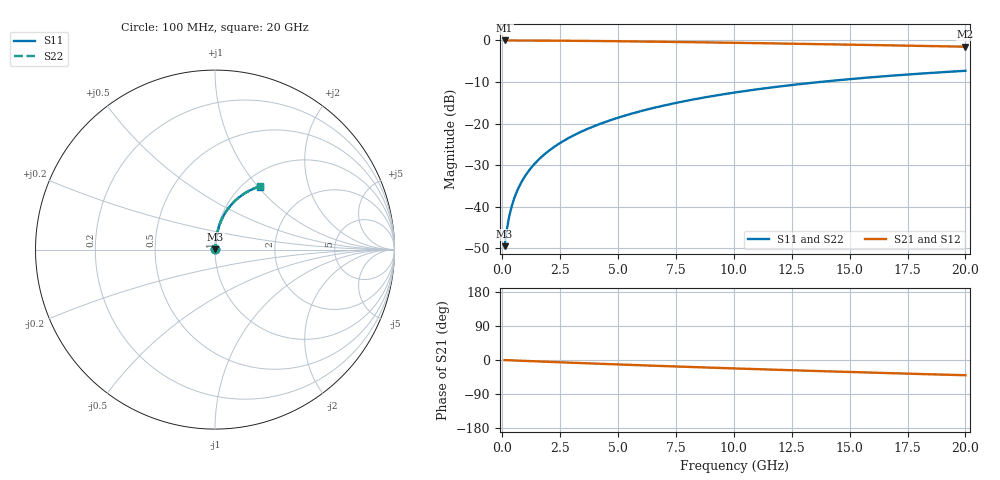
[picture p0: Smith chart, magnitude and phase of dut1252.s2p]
! Touchstone file exported from HFSS 2024.1.0
!  File:  C:/UserFiles/LocalFiles/RDL_TSV_Batchsim/temp_RDL_top_1252_1780241417.aedt
!  Generated:  11:32:46 PM May 31, 2026
!  Design:  RDL_top
!  Project:  temp_RDL_top_1252_1780241417
!  Setup:  Setup1
!  Solution:  Sweep
! Variables:
!  dtsv = 10.80580581um
!  hbump = 3um
!  htsv = 53.2um
!  ldown = 100um
!  lrdl = 522.47um
!  p = 40
!  p1 = 58.79um
!  rhole = 1um
!  t = 450um
!  tdown = 3.915915916um
!  trdl = 4.93um
!  wdown = 15.38538539um
!  wrdl = 17.21um
# GHz S MA R 50.000000
! Terminal data exported
! Port[1] = Box2_T1
! Port[2] = Box2_T2
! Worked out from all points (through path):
!   200 points, 100 MHz to 20 GHz, reference 50 ohm
!   highest |S21| = -0.02 dB at 100 MHz (marker M1); lowest = -1.5 dB at 20 GHz (marker M2)
!   group delay of S21, straight-line fit = 5.55 ps
!   lowest |S11| = -49.5 dB at 100 MHz (marker M3), VSWR 1.01, Z = 50.2 + j0.245 ohm
!   |S11| at or under -10 dB: start of sweep to 13.73 GHz
!   |S22| runs from -49.5 to -7.3 dB; largest |S21 - S12| = 3.5e-15
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0.1  0.003352 46.8  0.9977 -0.3  0.9977 -0.3  0.003352 46.8
! Gamma 0 0 0 0
! Port Impedance 50 0 50 0
0.2  0.005413 64.0  0.9976 -0.5  0.9976 -0.5  0.005413 64.0
0.3  0.007667 71.1  0.9975 -0.7  0.9975 -0.7  0.007667 71.1
0.4  0.009959 74.8  0.9973 -1.0  0.9973 -1.0  0.009959 74.8
0.5  0.01225 77.1  0.9972 -1.2  0.9972 -1.2  0.01225 77.1
0.7  0.01684 79.7  0.9968 -1.7  0.9968 -1.7  0.01683 79.7
0.8  0.01912 80.6  0.9967 -2.0  0.9967 -2.0  0.01912 80.6
1  0.02371 81.7  0.9963 -2.4  0.9963 -2.4  0.02371 81.8
1.2  0.0283 82.5  0.9958 -2.9  0.9958 -2.9  0.0283 82.5
1.4  0.03291 83.0  0.9953 -3.4  0.9953 -3.4  0.03291 83.0
1.7  0.03985 83.4  0.9945 -4.1  0.9945 -4.1  0.03985 83.4
2  0.04681 83.6  0.9934 -4.8  0.9934 -4.8  0.04681 83.6
2.7  0.06314 83.5  0.9905 -6.5  0.9905 -6.5  0.06315 83.5
3.5  0.08195 82.9  0.9863 -8.4  0.9863 -8.4  0.08196 82.9
4.2  0.09851 82.1  0.9821 -10.0  0.9821 -10.0  0.09853 82.1
5  0.1175 81.1  0.9767 -11.8  0.9767 -11.8  0.1176 81.1
6.8  0.1604 78.3  0.963 -15.7  0.963 -15.7  0.1605 78.3
8.4  0.1982 75.5  0.9497 -19.0  0.9497 -19.0  0.1983 75.6
10.1  0.2374 72.4  0.9347 -22.4  0.9347 -22.4  0.2376 72.5
13.4  0.3094 66.3  0.9039 -28.7  0.9039 -28.7  0.3096 66.3
16.7  0.3741 60.3  0.8718 -34.7  0.8718 -34.7  0.3743 60.4
20  0.4307 54.7  0.8394 -40.2  0.8394 -40.2  0.431 54.7
